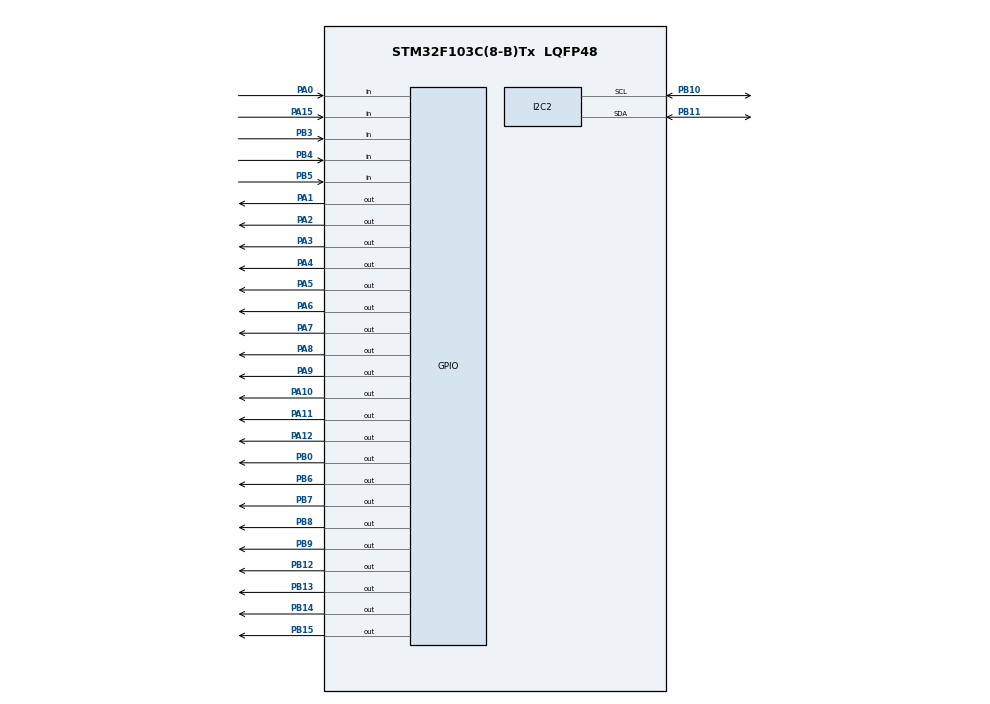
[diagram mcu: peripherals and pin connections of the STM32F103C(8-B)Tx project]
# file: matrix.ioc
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I2C2.I2C_Mode=I2C_Fast
Mcu.Family=STM32F1
Mcu.Name=STM32F103C(8-B)Tx
Mcu.Package=LQFP48
NVIC.PriorityGroup=NVIC_PRIORITYGROUP_4
PA0-WKUP.Signal=GPIO_Input
PA1.Signal=GPIO_Output
PA10.Signal=GPIO_Output
PA11.Signal=GPIO_Output
PA12.Signal=GPIO_Output
PA13.Mode=Serial_Wire
PA13.Signal=SYS_JTMS-SWDIO
PA14.Mode=Serial_Wire
PA14.Signal=SYS_JTCK-SWCLK
PA15.Signal=GPIO_Input
PA2.Signal=GPIO_Output
PA3.Signal=GPIO_Output
PA4.Signal=GPIO_Output
PA5.Signal=GPIO_Output
PA6.Signal=GPIO_Output
PA7.Signal=GPIO_Output
PA8.Signal=GPIO_Output
PA9.Signal=GPIO_Output
PB0.Signal=GPIO_Output
PB10.Mode=I2C
PB10.Signal=I2C2_SCL
PB11.Mode=I2C
PB11.Signal=I2C2_SDA
PB12.Signal=GPIO_Output
PB13.Signal=GPIO_Output
PB14.Signal=GPIO_Output
PB15.Signal=GPIO_Output
PB3.Signal=GPIO_Input
PB4.GPIO_PuPd=GPIO_PULLDOWN
PB4.Signal=GPIO_Input
PB5.GPIO_PuPd=GPIO_PULLDOWN
PB5.Signal=GPIO_Input
PB6.Signal=GPIO_Output
PB7.Signal=GPIO_Output
PB8.Signal=GPIO_Output
PB9.Signal=GPIO_Output
ProjectManager.HeapSize=0x200
ProjectManager.StackSize=0x400
ProjectManager.TargetToolchain=STM32CubeIDE
RCC.APB1Freq_Value=8000000
RCC.APB2Freq_Value=8000000
board=custom

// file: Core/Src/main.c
/* USER CODE BEGIN Header */

/* USER CODE END Header */

#include "main.h"
#include "fonts.h"
#include "ssd1306.h"
#include <string.h>
#include <stdio.h>
#include <stdbool.h>

I2C_HandleTypeDef hi2c2;

/* USER CODE BEGIN PV */
// Game state variables
typedef enum {
  PLAYER_BLUE = 0,
  PLAYER_RED = 1
} Player_t;

typedef enum {
  POSITION_EMPTY = 0,
  POSITION_BLUE = 1,
  POSITION_RED = 2
} PositionState_t;

typedef enum {
  GAME_ONGOING = 0,
  GAME_BLUE_WINS = 1,
  GAME_RED_WINS = 2,
  GAME_DRAW = 3
} GameState_t;

Player_t currentPlayer = PLAYER_BLUE;  // Blue starts first
PositionState_t gameBoard[10];  // Position 0 unused, 1-9 are game positions
GameState_t gameState = GAME_ONGOING;
uint8_t moveCount = 0;  // Track number of moves for draw detection
uint8_t winningPositions[9];  // Store ALL winning positions (max 9 if all lines win)
uint8_t winningCount = 0;  // Number of winning positions
bool hasWinningCombo = false;

/* USER CODE END PV */

void SystemClock_Config(void);
static void MX_GPIO_Init(void);
static void MX_I2C2_Init(void);
char Keypad_Read(void);
void Turn_On_Blue_LED(uint8_t position);
void Turn_On_Red_LED(uint8_t position);
void Turn_Off_LED(uint8_t position, Player_t player);
void Turn_Off_All_LEDs(void);
void Reset_Game(void);
void Display_Current_Player(void);
void Display_Invalid_Move(void);
void Display_Winner(Player_t winner);
void Display_Draw(void);
bool Check_Winner(Player_t player);
bool Check_Draw(void);
void Add_Winning_Position(uint8_t pos);
bool Is_Position_In_Winning_List(uint8_t pos);

int main(void)
{
  /* USER CODE BEGIN 1 */
  char key = 0;
  uint32_t lastBlinkTime = 0;
  bool blinkState = true;
  /* USER CODE END 1 */

  HAL_Init();

  SystemClock_Config();

  MX_GPIO_Init();
  MX_I2C2_Init();

  /* USER CODE BEGIN 2 */
  SSD1306_Init();
  SSD1306_Clear();

  Reset_Game();

  SSD1306_GotoXY(3, 5);
  SSD1306_Puts("TIC-TAC-TOE", &Font_11x18, 1);
  SSD1306_GotoXY(25, 30);
  SSD1306_Puts("Blue vs Red", &Font_7x10, 1);
  SSD1306_GotoXY(8, 50);
  SSD1306_Puts("Press 0 to Reset", &Font_7x10, 1);
  SSD1306_UpdateScreen();

  HAL_Delay(3000);  // Show message for 3 seconds

  // Display first player
  Display_Current_Player();

  /* USER CODE END 2 */

  while (1)
  {

    /* USER CODE BEGIN 3 */

    // If game is won, blink ALL winning LEDs
    if((gameState == GAME_BLUE_WINS || gameState == GAME_RED_WINS) && hasWinningCombo)
    {
      if(HAL_GetTick() - lastBlinkTime >= 500)  // Blink every 500ms
      {
        lastBlinkTime = HAL_GetTick();
        blinkState = !blinkState;

        Player_t winner = (gameState == GAME_BLUE_WINS) ? PLAYER_BLUE : PLAYER_RED;

        // Toggle ALL winning LEDs
        for(int i = 0; i < winningCount; i++)
        {
          if(blinkState)
          {
            if(winner == PLAYER_BLUE)
              Turn_On_Blue_LED(winningPositions[i]);
            else
              Turn_On_Red_LED(winningPositions[i]);
          }
          else
          {
            Turn_Off_LED(winningPositions[i], winner);
          }
        }
      }
    }

    // Read keypad
    key = Keypad_Read();

    if(key != 0)  // If a key was pressed
    {
      // If '0' is pressed, reset the game
      if(key == '0')
      {
        Reset_Game();
        Display_Current_Player();
        hasWinningCombo = false;
      }
      // If a number 1-9 is pressed and game is ongoing
      else if(key >= '1' && key <= '9' && gameState == GAME_ONGOING)
      {
        uint8_t position = key - '0';  // Convert char to number

        // Check if position is already taken
        if(gameBoard[position] != POSITION_EMPTY)
        {
          // Invalid move - position already taken
          Display_Invalid_Move();
          HAL_Delay(1500);  // Show error for 1.5 seconds
          Display_Current_Player();  // Return to player display
        }
        else
        {
          // Valid move - claim the position
          if(currentPlayer == PLAYER_BLUE)
          {
            gameBoard[position] = POSITION_BLUE;
            Turn_On_Blue_LED(position);
            moveCount++;

            // Check if Blue wins
            if(Check_Winner(PLAYER_BLUE))
            {
              gameState = GAME_BLUE_WINS;
              hasWinningCombo = true;
              Display_Winner(PLAYER_BLUE);
              lastBlinkTime = HAL_GetTick();
            }
            else if(Check_Draw())
            {
              gameState = GAME_DRAW;
              Display_Draw();
            }
            else
            {
              currentPlayer = PLAYER_RED;  // Switch to red player
              Display_Current_Player();
            }
          }
          else  // currentPlayer == PLAYER_RED
          {
            gameBoard[position] = POSITION_RED;
            Turn_On_Red_LED(position);
            moveCount++;

            // Check if Red wins
            if(Check_Winner(PLAYER_RED))
            {
              gameState = GAME_RED_WINS;
              hasWinningCombo = true;
              Display_Winner(PLAYER_RED);
              lastBlinkTime = HAL_GetTick();
            }
            else if(Check_Draw())
            {
              gameState = GAME_DRAW;
              Display_Draw();
            }
            else
            {
              currentPlayer = PLAYER_BLUE;  // Switch to blue player
              Display_Current_Player();
            }
          }
        }
      }

      // Wait for key release
      while(Keypad_Read() != 0)
      {
        HAL_Delay(10);
      }

      HAL_Delay(50);
    }
  }
  /* USER CODE END 3 */
}

void Add_Winning_Position(uint8_t pos)
{
  // Check if position already exists in list
  if(! Is_Position_In_Winning_List(pos))
  {
    winningPositions[winningCount] = pos;
    winningCount++;
  }
}

bool Is_Position_In_Winning_List(uint8_t pos)
{
  for(int i = 0; i < winningCount; i++)
  {
    if(winningPositions[i] == pos)
      return true;
  }
  return false;
}

bool Check_Winner(Player_t player)
{
  PositionState_t mark = (player == PLAYER_BLUE) ? POSITION_BLUE :   POSITION_RED;
  bool hasWon = false;

  // Reset winning positions
  winningCount = 0;

  // Check all rows
  if(gameBoard[1] == mark && gameBoard[2] == mark && gameBoard[3] == mark)
  {
    Add_Winning_Position(1);
    Add_Winning_Position(2);
    Add_Winning_Position(3);
    hasWon = true;
  }
  if(gameBoard[4] == mark && gameBoard[5] == mark && gameBoard[6] == mark)
  {
    Add_Winning_Position(4);
    Add_Winning_Position(5);
    Add_Winning_Position(6);
    hasWon = true;
  }
  if(gameBoard[7] == mark && gameBoard[8] == mark && gameBoard[9] == mark)
  {
    Add_Winning_Position(7);
    Add_Winning_Position(8);
    Add_Winning_Position(9);
    hasWon = true;
  }

  // Check all columns
  if(gameBoard[1] == mark && gameBoard[4] == mark && gameBoard[7] == mark)
  {
    Add_Winning_Position(1);
    Add_Winning_Position(4);
    Add_Winning_Position(7);
    hasWon = true;
  }
  if(gameBoard[2] == mark && gameBoard[5] == mark && gameBoard[8] == mark)
  {
    Add_Winning_Position(2);
    Add_Winning_Position(5);
    Add_Winning_Position(8);
    hasWon = true;
  }
  if(gameBoard[3] == mark && gameBoard[6] == mark && gameBoard[9] == mark)
  {
    Add_Winning_Position(3);
    Add_Winning_Position(6);
    Add_Winning_Position(9);
    hasWon = true;
  }

  // Check all diagonals
  if(gameBoard[1] == mark && gameBoard[5] == mark && gameBoard[9] == mark)
  {
    Add_Winning_Position(1);
    Add_Winning_Position(5);
    Add_Winning_Position(9);
    hasWon = true;
  }
  if(gameBoard[3] == mark && gameBoard[5] == mark && gameBoard[7] == mark)
  {
    Add_Winning_Position(3);
    Add_Winning_Position(5);
    Add_Winning_Position(7);
    hasWon = true;
  }

  return hasWon;
}

bool Check_Draw(void)
{
  return (moveCount >= 9);
}

void Reset_Game(void)
{
  // Clear game board
  for(int i = 0; i < 10; i++)
  {
    gameBoard[i] = POSITION_EMPTY;
  }

  // Clear winning positions
  for(int i = 0; i < 9; i++)
  {
    winningPositions[i] = 0;
  }
  winningCount = 0;

  // Turn off all LEDs
  Turn_Off_All_LEDs();

  // Reset game state
  currentPlayer = PLAYER_BLUE;
  gameState = GAME_ONGOING;
  moveCount = 0;
}

void Display_Current_Player(void)
{
  SSD1306_Clear();
  SSD1306_GotoXY(10, 0);
  SSD1306_Puts("Current Turn:", &Font_7x10, 1);

  if(currentPlayer == PLAYER_BLUE)
  {
    SSD1306_GotoXY(20, 25);
    SSD1306_Puts("BLUE", &Font_16x26, 1);
  }
  else
  {
    SSD1306_GotoXY(30, 25);
    SSD1306_Puts("RED", &Font_16x26, 1);
  }

  SSD1306_GotoXY(15, 55);
  SSD1306_Puts("Press 1-9", &Font_7x10, 1);

  SSD1306_UpdateScreen();
}

void Display_Invalid_Move(void)
{
  SSD1306_Clear();
  SSD1306_GotoXY(10, 15);
  SSD1306_Puts("INVALID", &Font_11x18, 1);
  SSD1306_GotoXY(20, 40);
  SSD1306_Puts("MOVE!", &Font_11x18, 1);
  SSD1306_UpdateScreen();
}

void Display_Winner(Player_t winner)
{
  SSD1306_Clear();

  if(winner == PLAYER_BLUE)
  {
    SSD1306_GotoXY(25, 10);
    SSD1306_Puts("BLUE", &Font_11x18, 1);
  }
  else
  {
    SSD1306_GotoXY(30, 10);
    SSD1306_Puts("RED", &Font_11x18, 1);
  }

  SSD1306_GotoXY(20, 35);
  SSD1306_Puts("WINS!", &Font_11x18, 1);

  SSD1306_GotoXY(10, 55);
  SSD1306_Puts("Press 0 to Reset", &Font_7x10, 1);

  SSD1306_UpdateScreen();
}

void Display_Draw(void)
{
  SSD1306_Clear();
  SSD1306_GotoXY(20, 20);
  SSD1306_Puts("DRAW!", &Font_16x26, 1);

  SSD1306_GotoXY(10, 50);
  SSD1306_Puts("Press 0 to Reset", &Font_7x10, 1);

  SSD1306_UpdateScreen();
}

void Turn_On_Blue_LED(uint8_t position)
{
  switch(position)
  {
    case 1:
      HAL_GPIO_WritePin(GPIOA, GPIO_PIN_0, 1);  // Blue LED 1
      break;
    case 2:
      HAL_GPIO_WritePin(GPIOA, GPIO_PIN_1, 1);  // Blue LED 2
      break;
    case 3:
      HAL_GPIO_WritePin(GPIOA, GPIO_PIN_2, 1);  // Blue LED 3
      break;
    case 4:
      HAL_GPIO_WritePin(GPIOA, GPIO_PIN_3, 1);  // Blue LED 4
      break;
    case 5:
      HAL_GPIO_WritePin(GPIOA, GPIO_PIN_4, 1);  // Blue LED 5
      break;
    case 6:
      HAL_GPIO_WritePin(GPIOA, GPIO_PIN_5, 1);  // Blue LED 6
      break;
    case 7:
      HAL_GPIO_WritePin(GPIOA, GPIO_PIN_6, 1);  // Blue LED 7
      break;
    case 8:
      HAL_GPIO_WritePin(GPIOA, GPIO_PIN_7, 1);  // Blue LED 8
      break;
    case 9:
      HAL_GPIO_WritePin(GPIOB, GPIO_PIN_0, 1);  // Blue LED 9
      break;
    default:
      break;
  }
}

void Turn_On_Red_LED(uint8_t position)
{
  switch(position)
  {
    case 1:
      HAL_GPIO_WritePin(GPIOA, GPIO_PIN_12, 1);  // Red LED 1
      break;
    case 2:
      HAL_GPIO_WritePin(GPIOA, GPIO_PIN_11, 1);  // Red LED 2
      break;
    case 3:
      HAL_GPIO_WritePin(GPIOA, GPIO_PIN_10, 1);  // Red LED 3
      break;
    case 4:
      HAL_GPIO_WritePin(GPIOA, GPIO_PIN_9, 1);   // Red LED 4
      break;
    case 5:
      HAL_GPIO_WritePin(GPIOA, GPIO_PIN_8, 1);   // Red LED 5
      break;
    case 6:
      HAL_GPIO_WritePin(GPIOB, GPIO_PIN_15, 1);  // Red LED 6
      break;
    case 7:
      HAL_GPIO_WritePin(GPIOB, GPIO_PIN_14, 1);  // Red LED 7
      break;
    case 8:
      HAL_GPIO_WritePin(GPIOB, GPIO_PIN_13, 1);  // Red LED 8
      break;
    case 9:
      HAL_GPIO_WritePin(GPIOB, GPIO_PIN_12, 1);  // Red LED 9
      break;
    default:
      break;
  }
}

void Turn_Off_LED(uint8_t position, Player_t player)
{
  if(player == PLAYER_BLUE)
  {
    switch(position)
    {
      case 1: HAL_GPIO_WritePin(GPIOA, GPIO_PIN_0, 0); break;
      case 2: HAL_GPIO_WritePin(GPIOA, GPIO_PIN_1, 0); break;
      case 3: HAL_GPIO_WritePin(GPIOA, GPIO_PIN_2, 0); break;
      case 4: HAL_GPIO_WritePin(GPIOA, GPIO_PIN_3, 0); break;
      case 5: HAL_GPIO_WritePin(GPIOA, GPIO_PIN_4, 0); break;
      case 6: HAL_GPIO_WritePin(GPIOA, GPIO_PIN_5, 0); break;
      case 7: HAL_GPIO_WritePin(GPIOA, GPIO_PIN_6, 0); break;
      case 8: HAL_GPIO_WritePin(GPIOA, GPIO_PIN_7, 0); break;
      case 9: HAL_GPIO_WritePin(GPIOB, GPIO_PIN_0, 0); break;
      default: break;
    }
  }
  else  // PLAYER_RED
  {
    switch(position)
    {
      case 1: HAL_GPIO_WritePin(GPIOA, GPIO_PIN_12, 0); break;
      case 2: HAL_GPIO_WritePin(GPIOA, GPIO_PIN_11, 0); break;
      case 3: HAL_GPIO_WritePin(GPIOA, GPIO_PIN_10, 0); break;
      case 4: HAL_GPIO_WritePin(GPIOA, GPIO_PIN_9, 0); break;
      case 5: HAL_GPIO_WritePin(GPIOA, GPIO_PIN_8, 0); break;
      case 6: HAL_GPIO_WritePin(GPIOB, GPIO_PIN_15, 0); break;
      case 7: HAL_GPIO_WritePin(GPIOB, GPIO_PIN_14, 0); break;
      case 8: HAL_GPIO_WritePin(GPIOB, GPIO_PIN_13, 0); break;
      case 9: HAL_GPIO_WritePin(GPIOB, GPIO_PIN_12, 0); break;
      default: break;
    }
  }
}

void Turn_Off_All_LEDs(void)
{
  // Turn off Blue LEDs
  HAL_GPIO_WritePin(GPIOA, GPIO_PIN_0, 0);
  HAL_GPIO_WritePin(GPIOA, GPIO_PIN_1, 0);
  HAL_GPIO_WritePin(GPIOA, GPIO_PIN_2, 0);
  HAL_GPIO_WritePin(GPIOA, GPIO_PIN_3, 0);
  HAL_GPIO_WritePin(GPIOA, GPIO_PIN_4, 0);
  HAL_GPIO_WritePin(GPIOA, GPIO_PIN_5, 0);
  HAL_GPIO_WritePin(GPIOA, GPIO_PIN_6, 0);
  HAL_GPIO_WritePin(GPIOA, GPIO_PIN_7, 0);
  HAL_GPIO_WritePin(GPIOB, GPIO_PIN_0, 0);

  // Turn off Red LEDs
  HAL_GPIO_WritePin(GPIOA, GPIO_PIN_12, 0);
  HAL_GPIO_WritePin(GPIOA, GPIO_PIN_11, 0);
  HAL_GPIO_WritePin(GPIOA, GPIO_PIN_10, 0);
  HAL_GPIO_WritePin(GPIOA, GPIO_PIN_9, 0);
  HAL_GPIO_WritePin(GPIOA, GPIO_PIN_8, 0);
  HAL_GPIO_WritePin(GPIOB, GPIO_PIN_15, 0);
  HAL_GPIO_WritePin(GPIOB, GPIO_PIN_14, 0);
  HAL_GPIO_WritePin(GPIOB, GPIO_PIN_13, 0);
  HAL_GPIO_WritePin(GPIOB, GPIO_PIN_12, 0);
}

char Keypad_Read(void)
{
  // Your physical keypad layout:
  // 1 2 3 A
  // 4 5 6 B
  // 7 8 9 C
  // * 0 # D

  // Pin mapping:
  // Rows:   PB9, PB8, PB7, PB6
  // Columns: PB5, PB4, PB3, PA15

  // Reset all rows to LOW
  HAL_GPIO_WritePin(GPIOB, GPIO_PIN_6, 0);
  HAL_GPIO_WritePin(GPIOB, GPIO_PIN_7, 0);
  HAL_GPIO_WritePin(GPIOB, GPIO_PIN_8, 0);
  HAL_GPIO_WritePin(GPIOB, GPIO_PIN_9, 0);

  // Check ROW-1 (PB9) - Keys:        1, 2, 3, A
  HAL_GPIO_WritePin(GPIOB, GPIO_PIN_9, 1);
  if(HAL_GPIO_ReadPin(GPIOB, GPIO_PIN_5) == 1)
  {
    HAL_GPIO_WritePin(GPIOB, GPIO_PIN_9, 0);
    return '1';
  }
  if(HAL_GPIO_ReadPin(GPIOB, GPIO_PIN_4) == 1)
  {
    HAL_GPIO_WritePin(GPIOB, GPIO_PIN_9, 0);
    return '2';
  }
  if(HAL_GPIO_ReadPin(GPIOB, GPIO_PIN_3) == 1)
  {
    HAL_GPIO_WritePin(GPIOB, GPIO_PIN_9, 0);
    return '3';
  }
  if(HAL_GPIO_ReadPin(GPIOA, GPIO_PIN_15) == 1)
  {
    HAL_GPIO_WritePin(GPIOB, GPIO_PIN_9, 0);
    return 'A';
  }
  HAL_GPIO_WritePin(GPIOB, GPIO_PIN_9, 0);

  // Check ROW-2 (PB8) - Keys: 4, 5, 6, B
  HAL_GPIO_WritePin(GPIOB, GPIO_PIN_8, 1);
  if(HAL_GPIO_ReadPin(GPIOB, GPIO_PIN_5) == 1)
  {
    HAL_GPIO_WritePin(GPIOB, GPIO_PIN_8, 0);
    return '4';
  }
  if(HAL_GPIO_ReadPin(GPIOB, GPIO_PIN_4) == 1)
  {
    HAL_GPIO_WritePin(GPIOB, GPIO_PIN_8, 0);
    return '5';
  }
  if(HAL_GPIO_ReadPin(GPIOB, GPIO_PIN_3) == 1)
  {
    HAL_GPIO_WritePin(GPIOB, GPIO_PIN_8, 0);
    return '6';
  }
  if(HAL_GPIO_ReadPin(GPIOA, GPIO_PIN_15) == 1)
  {
    HAL_GPIO_WritePin(GPIOB, GPIO_PIN_8, 0);
    return 'B';
  }
  HAL_GPIO_WritePin(GPIOB, GPIO_PIN_8, 0);

  // Check ROW-3 (PB7) - Keys: 7, 8, 9, C
  HAL_GPIO_WritePin(GPIOB, GPIO_PIN_7, 1);
  if(HAL_GPIO_ReadPin(GPIOB, GPIO_PIN_5) == 1)
  {
    HAL_GPIO_WritePin(GPIOB, GPIO_PIN_7, 0);
    return '7';
  }
  if(HAL_GPIO_ReadPin(GPIOB, GPIO_PIN_4) == 1)
  {
    HAL_GPIO_WritePin(GPIOB, GPIO_PIN_7, 0);
    return '8';
  }
  if(HAL_GPIO_ReadPin(GPIOB, GPIO_PIN_3) == 1)
  {
    HAL_GPIO_WritePin(GPIOB, GPIO_PIN_7, 0);
    return '9';
  }
  if(HAL_GPIO_ReadPin(GPIOA, GPIO_PIN_15) == 1)
  {
    HAL_GPIO_WritePin(GPIOB, GPIO_PIN_7, 0);
    return 'C';
  }
  HAL_GPIO_WritePin(GPIOB, GPIO_PIN_7, 0);

  // Check ROW-4 (PB6) - Keys: *, 0, #, D
  HAL_GPIO_WritePin(GPIOB, GPIO_PIN_6, 1);
  if(HAL_GPIO_ReadPin(GPIOB, GPIO_PIN_5) == 1)
  {
    HAL_GPIO_WritePin(GPIOB, GPIO_PIN_6, 0);
    return '*';
  }
  if(HAL_GPIO_ReadPin(GPIOB, GPIO_PIN_4) == 1)
  {
    HAL_GPIO_WritePin(GPIOB, GPIO_PIN_6, 0);
    return '0';
  }
  if(HAL_GPIO_ReadPin(GPIOB, GPIO_PIN_3) == 1)
  {
    HAL_GPIO_WritePin(GPIOB, GPIO_PIN_6, 0);
    return '#';
  }
  if(HAL_GPIO_ReadPin(GPIOA, GPIO_PIN_15) == 1)
  {
    HAL_GPIO_WritePin(GPIOB, GPIO_PIN_6, 0);
    return 'D';
  }
  HAL_GPIO_WritePin(GPIOB, GPIO_PIN_6, 0);

  return 0;  // No key pressed
}

void SystemClock_Config(void)
{
  RCC_OscInitTypeDef RCC_OscInitStruct = {0};
  RCC_ClkInitTypeDef RCC_ClkInitStruct = {0};

  RCC_OscInitStruct.       OscillatorType = RCC_OSCILLATORTYPE_HSI;
  RCC_OscInitStruct.    HSIState = RCC_HSI_ON;
  RCC_OscInitStruct.   HSICalibrationValue = RCC_HSICALIBRATION_DEFAULT;
  RCC_OscInitStruct.   PLL.    PLLState = RCC_PLL_NONE;
  if (HAL_RCC_OscConfig(&RCC_OscInitStruct) != HAL_OK)
  {
    Error_Handler();
  }

  RCC_ClkInitStruct.   ClockType = RCC_CLOCKTYPE_HCLK|RCC_CLOCKTYPE_SYSCLK
                              |RCC_CLOCKTYPE_PCLK1|RCC_CLOCKTYPE_PCLK2;
  RCC_ClkInitStruct.   SYSCLKSource = RCC_SYSCLKSOURCE_HSI;
  RCC_ClkInitStruct.  AHBCLKDivider = RCC_SYSCLK_DIV1;
  RCC_ClkInitStruct.  APB1CLKDivider = RCC_HCLK_DIV1;
  RCC_ClkInitStruct.  APB2CLKDivider = RCC_HCLK_DIV1;

  if (HAL_RCC_ClockConfig(&RCC_ClkInitStruct, FLASH_LATENCY_0) != HAL_OK)
  {
    Error_Handler();
  }
}

static void MX_I2C2_Init(void)
{
  hi2c2.Instance = I2C2;
  hi2c2.Init.      ClockSpeed = 400000;
  hi2c2.Init.   DutyCycle = I2C_DUTYCYCLE_2;
  hi2c2.Init.     OwnAddress1 = 0;
  hi2c2.Init.   AddressingMode = I2C_ADDRESSINGMODE_7BIT;
  hi2c2.Init.  DualAddressMode = I2C_DUALADDRESS_DISABLE;
  hi2c2.Init.   OwnAddress2 = 0;
  hi2c2.Init.  GeneralCallMode = I2C_GENERALCALL_DISABLE;
  hi2c2.Init.NoStretchMode = I2C_NOSTRETCH_DISABLE;
  if (HAL_I2C_Init(&hi2c2) != HAL_OK)
  {
    Error_Handler();
  }
}

static void MX_GPIO_Init(void)
{
  GPIO_InitTypeDef GPIO_InitStruct = {0};

  /* GPIO Ports Clock Enable */
  __HAL_RCC_GPIOA_CLK_ENABLE();
  __HAL_RCC_GPIOB_CLK_ENABLE();

  /*Configure GPIO pin Output Level - Blue LEDs (PA0-PA7) */
  HAL_GPIO_WritePin(GPIOA, GPIO_PIN_0|GPIO_PIN_1|GPIO_PIN_2|GPIO_PIN_3|
                           GPIO_PIN_4|GPIO_PIN_5|GPIO_PIN_6|GPIO_PIN_7, GPIO_PIN_RESET);

  /*Configure GPIO pin Output Level - Blue LED 9 (PB0) and Red LEDs (PB12-PB15) */
  HAL_GPIO_WritePin(GPIOB, GPIO_PIN_0|GPIO_PIN_12|GPIO_PIN_13|GPIO_PIN_14|GPIO_PIN_15, GPIO_PIN_RESET);

  /*Configure GPIO pin Output Level - Red LEDs (PA8-PA12) */
  HAL_GPIO_WritePin(GPIOA, GPIO_PIN_8|GPIO_PIN_9|GPIO_PIN_10|GPIO_PIN_11|GPIO_PIN_12, GPIO_PIN_RESET);

  /*Configure GPIO pin Output Level - Keypad Rows */
  HAL_GPIO_WritePin(GPIOB, GPIO_PIN_6|GPIO_PIN_7|GPIO_PIN_8|GPIO_PIN_9, GPIO_PIN_RESET);

  /*Configure GPIO pins : PA0-PA7 (Blue LEDs 1-8) */
  GPIO_InitStruct.       Pin = GPIO_PIN_0|GPIO_PIN_1|GPIO_PIN_2|GPIO_PIN_3|
                        GPIO_PIN_4|GPIO_PIN_5|GPIO_PIN_6|GPIO_PIN_7;
  GPIO_InitStruct.       Mode = GPIO_MODE_OUTPUT_PP;
  GPIO_InitStruct.   Pull = GPIO_NOPULL;
  GPIO_InitStruct.    Speed = GPIO_SPEED_FREQ_LOW;
  HAL_GPIO_Init(GPIOA, &GPIO_InitStruct);

  /*Configure GPIO pins :       PA8-PA12 (Red LEDs 5-1) */
  GPIO_InitStruct.   Pin = GPIO_PIN_8|GPIO_PIN_9|GPIO_PIN_10|GPIO_PIN_11|GPIO_PIN_12;
  GPIO_InitStruct.    Mode = GPIO_MODE_OUTPUT_PP;
  GPIO_InitStruct.   Pull = GPIO_NOPULL;
  GPIO_InitStruct.   Speed = GPIO_SPEED_FREQ_LOW;
  HAL_GPIO_Init(GPIOA, &GPIO_InitStruct);

  /*Configure GPIO pin : PB0 (Blue LED 9) */
  GPIO_InitStruct.   Pin = GPIO_PIN_0;
  GPIO_InitStruct.    Mode = GPIO_MODE_OUTPUT_PP;
  GPIO_InitStruct.  Pull = GPIO_NOPULL;
  GPIO_InitStruct.    Speed = GPIO_SPEED_FREQ_LOW;
  HAL_GPIO_Init(GPIOB, &GPIO_InitStruct);

  /*Configure GPIO pins : PB12-PB15 (Red LEDs 9-6) */
  GPIO_InitStruct.   Pin = GPIO_PIN_12|GPIO_PIN_13|GPIO_PIN_14|GPIO_PIN_15;
  GPIO_InitStruct.   Mode = GPIO_MODE_OUTPUT_PP;
  GPIO_InitStruct.   Pull = GPIO_NOPULL;
  GPIO_InitStruct.  Speed = GPIO_SPEED_FREQ_LOW;
  HAL_GPIO_Init(GPIOB, &GPIO_InitStruct);

  /*Configure GPIO pin : PA15 (Keypad Column input) */
  GPIO_InitStruct.  Pin = GPIO_PIN_15;
  GPIO_InitStruct.  Mode = GPIO_MODE_INPUT;
  GPIO_InitStruct.   Pull = GPIO_PULLDOWN;
  HAL_GPIO_Init(GPIOA, &GPIO_InitStruct);

  /*Configure GPIO pins : PB6 PB7 PB8 PB9 (Keypad Row outputs) */
  GPIO_InitStruct.  Pin = GPIO_PIN_6|GPIO_PIN_7|GPIO_PIN_8|GPIO_PIN_9;
  GPIO_InitStruct. Mode = GPIO_MODE_OUTPUT_PP;
  GPIO_InitStruct.  Pull = GPIO_NOPULL;
  GPIO_InitStruct. Speed = GPIO_SPEED_FREQ_LOW;
  HAL_GPIO_Init(GPIOB, &GPIO_InitStruct);

  /*Configure GPIO pins : PB3 PB4 PB5 (Keypad Column inputs) */
  GPIO_InitStruct. Pin = GPIO_PIN_3|GPIO_PIN_4|GPIO_PIN_5;
  GPIO_InitStruct. Mode = GPIO_MODE_INPUT;
  GPIO_InitStruct. Pull = GPIO_PULLDOWN;
  HAL_GPIO_Init(GPIOB, &GPIO_InitStruct);
}

void Error_Handler(void)
{
  __disable_irq();
  while (1)
  {
  }
}
